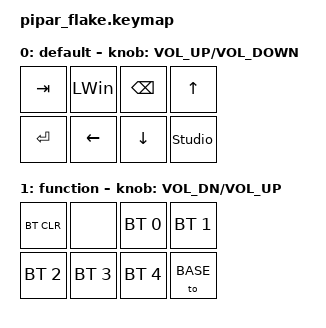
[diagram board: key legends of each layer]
/*
 * Copyright (c) 2022 The ZMK Contributors
 *
 * SPDX-License-Identifier: MIT
 */

#include <behaviors.dtsi>
#include <dt-bindings/zmk/bt.h>
#include <dt-bindings/zmk/keys.h>

#define BASE  0
#define FUNC  1

/ {
    chosen {
        zmk,physical-layout = &macro_layout;
    };

    macro_layout: macro_layout {
        compatible = "zmk,physical-layout";
        display-name = "Default Layout";
        transform = <&default_transform>; 
        kscan = <&kscan0>;
    };

    sensors: sensors {
        compatible = "zmk,keymap-sensors";
        sensors = <&encoder_1>;
        triggers-per-rotation = <24>;
    };

    keymap {
        compatible = "zmk,keymap";

        default_layer {
            display-name = "default";
            // Cấu hình cho 8 phím bấm trên Pipar Flake
            bindings = <
                &kp TAB         &kp LEFT_WIN    &kp BACKSPACE   &kp UP_ARROW    
                &kp ENTER       &kp LEFT_ARROW  &kp DOWN_ARROW  &studio_unlock
            >;
            // Xoay núm để tăng/giảm âm lượng
            sensor-bindings = <&inc_dec_kp C_VOLUME_UP C_VOLUME_DOWN>;
        };

        function_layer {
            display-name = "function";
            // Các phím chức năng và kết nối Bluetooth, chuyển về layer default
            bindings = <
                &bt BT_CLR    &none         &bt BT_SEL 0  &bt BT_SEL 1  
                &bt BT_SEL 2  &bt BT_SEL 3  &bt BT_SEL 4  &to BASE
            >;
            sensor-bindings = <&inc_dec_kp C_VOL_DN C_VOL_UP>;
        };
    };
};
